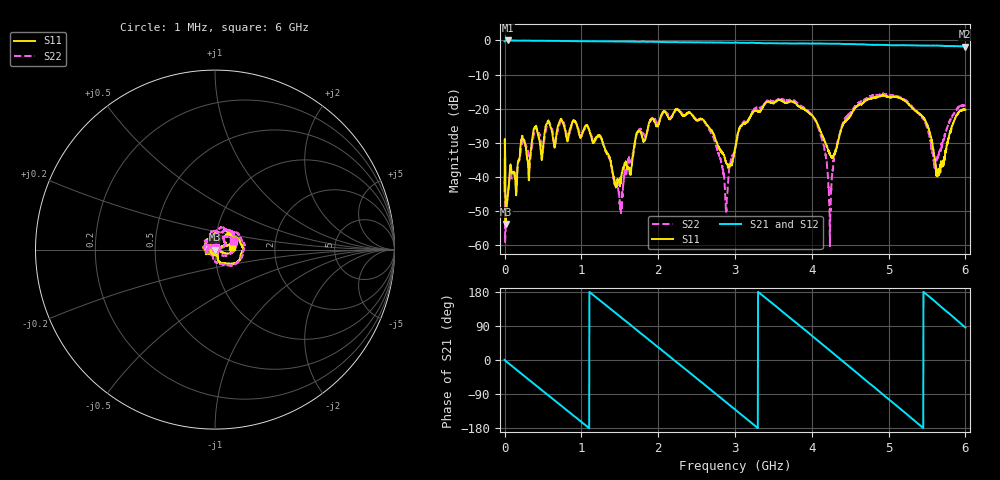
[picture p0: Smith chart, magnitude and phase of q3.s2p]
! TTR506A,Tektronix,B010319,Application version 2.0.1.4ead5a2e Firmware version 066185400
! Freq ReS11 ImS11 ReS21 ImS21 ReS12 ImS12 ReS22 ImS22
# HZ S RI R 50
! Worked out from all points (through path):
!   2001 points, 1 MHz to 6 GHz, reference 50 ohm
!   highest |S21| = 0.00 dB at 45.99 MHz (marker M1); lowest = -1.8 dB at 5.997 GHz (marker M2)
!   group delay of S21, straight-line fit = 459 ps
!   lowest |S11| = -53.7 dB at 13 MHz (marker M3), VSWR 1.00, Z = 49.8 - j0.0889 ohm
!   |S11| at or under -10 dB: start of sweep to end of sweep
!   |S22| runs from -60.2 to -15.5 dB; largest |S21 - S12| = 0.036
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1000000  -0.00348 -0.00517  0.9694 0.00442  1.005 -0.00263  0.00572 0.00691
1.2998e7  -0.00186 -0.000892  0.9973 -0.037  0.9973 -0.0372  -0.000604 -0.0014
4.59925e7  -0.00368 -0.00446  0.9906 -0.1328  0.9919 -0.1326  -0.0029 -0.00554
2.34961e8  -0.0285 -0.0253  0.7768 -0.6232  0.7783 -0.6245  -0.0246 -0.0192
5.259125e8  -0.0401 0.0248  0.0675 -0.9853  0.0676 -0.9855  -0.0369 0.0155
1.002833e9  0.00338 0.0395  -0.9368 -0.2738  -0.9319 -0.2705  -0.00289 0.0408
1.254791e9  0.0161 0.0342  -0.8793 0.4048  -0.8775 0.4033  0.0181 0.0334
1.509748e9  0.00282 0.00939  -0.3856 0.8821  -0.385 0.88  0.00284 0.002
1.73771e9  -0.0404 0.0232  0.2236 0.9297  0.2233 0.9271  -0.0444 0.0147
2.001666e9  -0.016 0.0561  0.797 0.5242  0.7924 0.5212  -0.0328 0.0515
2.589568e9  0.0592 0.0343  0.4275 -0.8321  0.4241 -0.8279  0.0582 0.0308
2.889518e9  0.00745 0.0138  -0.3521 -0.8585  -0.3515 -0.856  -0.00078 0.0031
3.0005e9  -0.00395 0.0257  -0.6064 -0.7048  -0.5993 -0.6949  -0.021 0.0139
3.444426e9  0.0584 0.1142  -0.8357 0.3633  -0.8254 0.3603  0.0422 0.1273
4.002333e9  0.0777 -0.0213  0.3938 0.8076  0.392 0.804  0.0749 -0.0298
4.239294e9  0.0203 0.00598  0.8177 0.3673  0.811 0.3651  -0.00197 0.000289
4.428262e9  0.0263 0.0594  0.8774 -0.1193  0.8727 -0.119  -0.00366 0.071
5.001166e9  0.1476 -0.0222  -0.2003 -0.8333  -0.2012 -0.8299  0.1592 -0.00561
5.46009e9  0.022 -0.0709  -0.8417 0.0176  -0.8371 0.0166  0.00222 -0.0693
5.64306e9  0.0107 -0.00231  -0.7064 0.4523  -0.7077 0.4564  -0.0132 0.0155
5.997e9  0.0956 0.0151  0.0552 0.8125  0.0571 0.811  0.1008 0.0502
6e9  0.0959 0.0135  0.0615 0.8167  0.0658 0.8105  0.1011 0.0484
